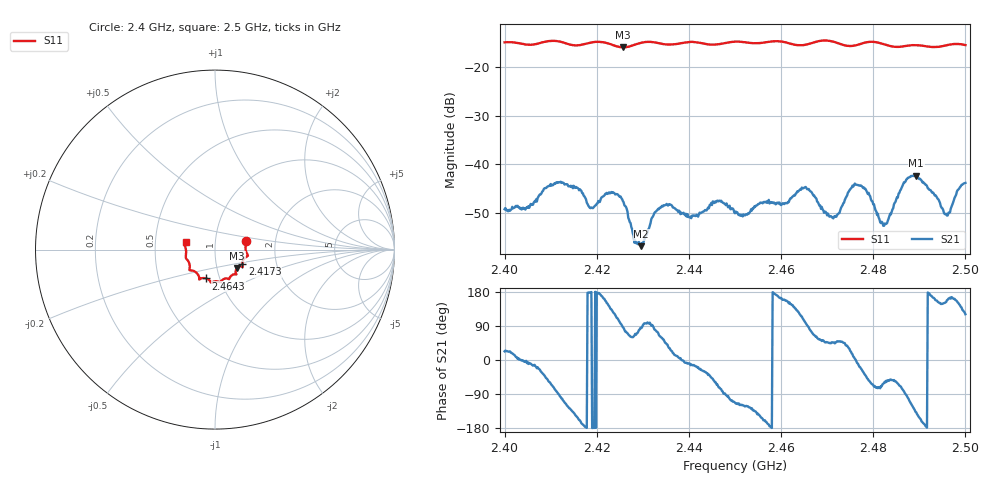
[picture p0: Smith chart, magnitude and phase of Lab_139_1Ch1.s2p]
# Hz S RI R 50
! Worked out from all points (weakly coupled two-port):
!   601 points, 2.4 GHz to 2.5 GHz, reference 50 ohm
!   highest |S21| = -42.33 dB at 2.4893 GHz (marker M1); lowest = -56.8 dB at 2.4297 GHz (marker M2)
!   lowest |S11| = -15.9 dB at 2.4257 GHz (marker M3), VSWR 1.38, Z = 62.4 - j13.1 ohm
!   |S11| at or under -10 dB: start of sweep to end of sweep
!   S12 and S22 are empty: the file has one direction only
!   S11 on the Smith chart (normalised r, x): 2.4 GHz: 1.41, +0.15; 2.4173 GHz: 1.34, -0.23; 2.4643 GHz: 0.86, -0.28; 2.5 GHz: 0.72, +0.06
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2.4e9  0.1733 0.0499  0.00318 0.00134  0 0  0 0
2.411667e9  0.1812 -0.0357  3.29e-05 -0.00649  0 0  0 0
2.416667e9  0.1528 -0.0747  -0.00518 -0.0012  0 0  0 0
2.417333e9  0.1523 -0.082  -0.00466 -0.000445  0 0  0 0
2.418833e9  0.1535 -0.0942  -0.0036 4.19e-05  0 0  0 0
2.422667e9  0.1474 -0.0934  -0.00408 0.00315  0 0  0 0
2.425667e9  0.1226 -0.1025  0.000262 0.00419  0 0  0 0
2.428333e9  0.1153 -0.1266  0.000592 0.00154  0 0  0 0
2.429667e9  0.1172 -0.1347  0.000149 0.00143  0 0  0 0
2.433333e9  0.1127 -0.1366  0.00113 0.0033  0 0  0 0
2.4465e9  0.0439 -0.1669  0.00125 -0.00402  0 0  0 0
2.45e9  0.0297 -0.1809  -0.00121 -0.0029  0 0  0 0
2.464333e9  -0.0501 -0.1604  -0.00239 0.00493  0 0  0 0
2.466667e9  -0.0762 -0.16  0.00151 0.0049  0 0  0 0
2.4715e9  -0.0875 -0.1601  0.00201 0.0021  0 0  0 0
2.477e9  -0.1268 -0.1166  0.00579 -0.00187  0 0  0 0
2.481833e9  -0.1411 -0.1038  0.000908 -0.0024  0 0  0 0
2.483333e9  -0.1408 -0.0895  0.00163 -0.00223  0 0  0 0
2.486833e9  -0.1546 -0.0571  0.000366 -0.00652  0 0  0 0
2.489333e9  -0.1627 -0.0448  -0.00569 -0.00511  0 0  0 0
2.495833e9  -0.1669 0.0182  -0.00277 0.0014  0 0  0 0
2.5e9  -0.1637 0.042  -0.0033 0.00554  0 0  0 0
